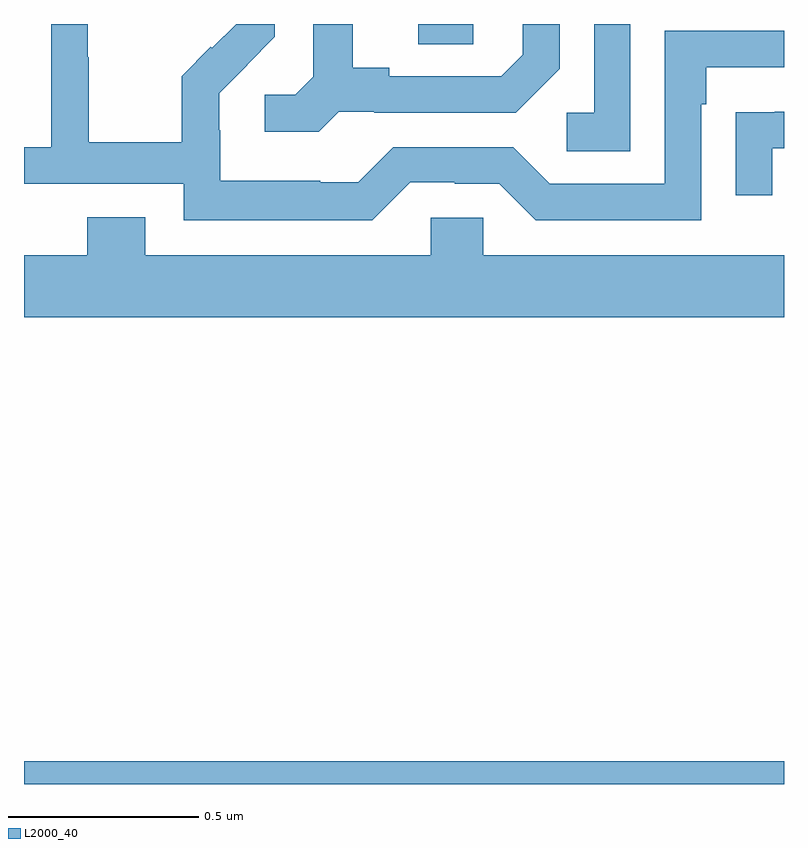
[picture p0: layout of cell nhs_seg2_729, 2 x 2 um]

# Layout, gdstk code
import gdstk
lib = gdstk.Library(unit=1e-6, precision=1e-09)
def R(c, l, rs):  # rectangles x0, y0, x1, y1
    for r in rs: c.add(gdstk.rectangle(r[:2], r[2:], *l))
def P(c, l, *ps):  # polygons
    for p in ps: c.add(gdstk.Polygon(p, *l))
L2000_40 = (2000, 40)

nhs_seg2_729 = lib.new_cell('nhs_seg2_729')
R(nhs_seg2_729, L2000_40, [(120,587.8,122,587.86), (121.037,589.747,121.182,589.8)])
P(nhs_seg2_729, L2000_40, [(120.828,589.569),(120.922,589.569),(120.922,589.566),(121.294,589.566),(121.41,589.682),(121.41,589.8),(121.313,589.8),(121.313,589.719),(121.256,589.662),(120.961,589.662),(120.961,589.685),(120.865,589.685),(120.865,589.8),(120.761,589.8),(120.761,589.661),(120.714,589.614),(120.633,589.614),(120.633,589.517),(120.776,589.517)],
  [(121.017,589.383),(121.133,589.383),(121.133,589.38),(121.251,589.38),(121.347,589.284),(121.782,589.284),(121.782,589.589),(121.795,589.589),(121.795,589.686),(122,589.686),(122,589.782),(121.686,589.782),(121.686,589.38),(121.383,589.38),(121.287,589.476),(120.972,589.476),(120.879,589.383),(120.779,589.383),(120.779,589.387),(120.516,589.387),(120.516,589.521),(120.514,589.521),(120.514,589.618),(120.588,589.692),(120.587,589.693),(120.66,589.766),(120.66,589.8),(120.558,589.8),(120.495,589.737),(120.492,589.74),(120.415,589.663),(120.415,589.489),(120.171,589.489),(120.171,589.712),(120.168,589.712),(120.168,589.8),(120.072,589.8),(120.072,589.476),(120,589.476),(120,589.38),(120.42,589.38),(120.42,589.283),(120.917,589.283)],
  [(121.596,589.8),(121.5,589.8),(121.5,589.566),(121.428,589.566),(121.428,589.465),(121.596,589.465)],
  [(121.969,589.473),(122,589.473),(122,589.569),(121.975,589.569),(121.975,589.568),(121.873,589.568),(121.873,589.35),(121.969,589.35)],
  [(122,589.192),(121.209,589.192),(121.209,589.29),(121.071,589.29),(121.071,589.192),(120.319,589.192),(120.319,589.291),(120.167,589.291),(120.167,589.192),(120,589.192),(120,589.028),(122,589.028)])

lib.write_gds('nhs_seg2_729.gds')
